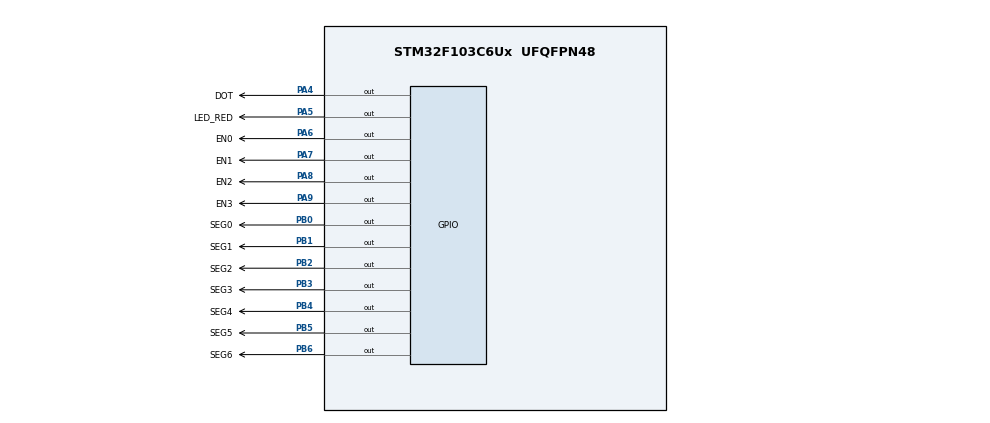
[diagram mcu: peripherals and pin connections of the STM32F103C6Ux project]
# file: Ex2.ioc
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Mcu.Family=STM32F1
Mcu.Name=STM32F103C6Ux
Mcu.Package=UFQFPN48
NVIC.PriorityGroup=NVIC_PRIORITYGROUP_4
NVIC.TIM2_IRQn=true\:0\:0\:false\:false\:true\:true\:true\:true
PA4.GPIO_Label=DOT
PA4.Signal=GPIO_Output
PA5.GPIO_Label=LED_RED
PA5.Signal=GPIO_Output
PA6.GPIO_Label=EN0
PA6.Signal=GPIO_Output
PA7.GPIO_Label=EN1
PA7.Signal=GPIO_Output
PA8.GPIO_Label=EN2
PA8.Signal=GPIO_Output
PA9.GPIO_Label=EN3
PA9.Signal=GPIO_Output
PB0.GPIO_Label=SEG0
PB0.Signal=GPIO_Output
PB1.GPIO_Label=SEG1
PB1.Signal=GPIO_Output
PB2.GPIO_Label=SEG2
PB2.Signal=GPIO_Output
PB3.GPIO_Label=SEG3
PB3.Signal=GPIO_Output
PB4.GPIO_Label=SEG4
PB4.Signal=GPIO_Output
PB5.GPIO_Label=SEG5
PB5.Signal=GPIO_Output
PB6.GPIO_Label=SEG6
PB6.Signal=GPIO_Output
ProjectManager.HeapSize=0x200
ProjectManager.StackSize=0x400
ProjectManager.TargetToolchain=STM32CubeIDE
RCC.APB1Freq_Value=8000000
RCC.APB2Freq_Value=8000000
TIM2.Period=9
TIM2.Prescaler=7999
VP_SYS_VS_ND.Mode=No_Debug
VP_TIM2_VS_ClockSourceINT.Mode=Internal
board=custom

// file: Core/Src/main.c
/* USER CODE BEGIN Header */
/**
 ******************************************************************************
 * @file           : main.c
 * @brief          : Main program body
 ******************************************************************************
 * @attention
 *
 * <h2><center>&copy; Copyright (c) 2022 STMicroelectronics.
 * All rights reserved.</center></h2>
 *
 * This software component is licensed by ST under BSD 3-Clause license,
 * the "License"; You may not use this file except in compliance with the
 * License. You may obtain a copy of the License at:
 *                        opensource.org/licenses/BSD-3-Clause
 *
 ******************************************************************************
 */
/* USER CODE END Header */
#include "display_7SEG.h"
#include "init.h"
#include "main.h"

TIM_HandleTypeDef htim2;

void SystemClock_Config(void);
static void MX_GPIO_Init(void);
static void MX_TIM2_Init(void);

int main(void)
{

	/* MCU Configuration--------------------------------------------------------*/

	/* Reset of all peripherals, Initializes the Flash interface and the Systick. */
	HAL_Init();

	/* Configure the system clock */
	SystemClock_Config();

	/* Initialize all configured peripherals */
	MX_GPIO_Init();
	MX_TIM2_Init();
	/* USER CODE BEGIN 2 */
	HAL_TIM_Base_Start_IT(&htim2);
	GPIO_init();
	/* USER CODE END 2 */

	/* Infinite loop */
	while (1)
	{

	}
}

void SystemClock_Config(void)
{
	RCC_OscInitTypeDef RCC_OscInitStruct = {0};
	RCC_ClkInitTypeDef RCC_ClkInitStruct = {0};

	/** Initializes the RCC Oscillators according to the specified parameters
	 * in the RCC_OscInitTypeDef structure.
	 */
	RCC_OscInitStruct.OscillatorType = RCC_OSCILLATORTYPE_HSI;
	RCC_OscInitStruct.HSIState = RCC_HSI_ON;
	RCC_OscInitStruct.HSICalibrationValue = RCC_HSICALIBRATION_DEFAULT;
	RCC_OscInitStruct.PLL.PLLState = RCC_PLL_NONE;
	if (HAL_RCC_OscConfig(&RCC_OscInitStruct) != HAL_OK)
	{
		Error_Handler();
	}

	/** Initializes the CPU, AHB and APB buses clocks
	 */
	RCC_ClkInitStruct.ClockType = RCC_CLOCKTYPE_HCLK|RCC_CLOCKTYPE_SYSCLK
			|RCC_CLOCKTYPE_PCLK1|RCC_CLOCKTYPE_PCLK2;
	RCC_ClkInitStruct.SYSCLKSource = RCC_SYSCLKSOURCE_HSI;
	RCC_ClkInitStruct.AHBCLKDivider = RCC_SYSCLK_DIV1;
	RCC_ClkInitStruct.APB1CLKDivider = RCC_HCLK_DIV1;
	RCC_ClkInitStruct.APB2CLKDivider = RCC_HCLK_DIV1;

	if (HAL_RCC_ClockConfig(&RCC_ClkInitStruct, FLASH_LATENCY_0) != HAL_OK)
	{
		Error_Handler();
	}
}

static void MX_TIM2_Init(void)
{

	TIM_ClockConfigTypeDef sClockSourceConfig = {0};
	TIM_MasterConfigTypeDef sMasterConfig = {0};

	htim2.Instance = TIM2;
	htim2.Init.Prescaler = 7999;
	htim2.Init.CounterMode = TIM_COUNTERMODE_UP;
	htim2.Init.Period = 9;
	htim2.Init.ClockDivision = TIM_CLOCKDIVISION_DIV1;
	htim2.Init.AutoReloadPreload = TIM_AUTORELOAD_PRELOAD_DISABLE;
	if (HAL_TIM_Base_Init(&htim2) != HAL_OK)
	{
		Error_Handler();
	}
	sClockSourceConfig.ClockSource = TIM_CLOCKSOURCE_INTERNAL;
	if (HAL_TIM_ConfigClockSource(&htim2, &sClockSourceConfig) != HAL_OK)
	{
		Error_Handler();
	}
	sMasterConfig.MasterOutputTrigger = TIM_TRGO_RESET;
	sMasterConfig.MasterSlaveMode = TIM_MASTERSLAVEMODE_DISABLE;
	if (HAL_TIMEx_MasterConfigSynchronization(&htim2, &sMasterConfig) != HAL_OK)
	{
		Error_Handler();
	}

}

static void MX_GPIO_Init(void)
{
	GPIO_InitTypeDef GPIO_InitStruct = {0};

	/* GPIO Ports Clock Enable */
	__HAL_RCC_GPIOA_CLK_ENABLE();
	__HAL_RCC_GPIOB_CLK_ENABLE();

	/*Configure GPIO pin Output Level */
	HAL_GPIO_WritePin(GPIOA, LED_RED_Pin|EN0_Pin|EN1_Pin|EN2_Pin
			|EN3_Pin, GPIO_PIN_RESET);

	/*Configure GPIO pin Output Level */
	HAL_GPIO_WritePin(GPIOB, SEG0_Pin|SEG1_Pin|SEG2_Pin|SEG3_Pin
			|SEG4_Pin|SEG5_Pin|SEG6_Pin, GPIO_PIN_RESET);

	/*Configure GPIO pins : LED_RED_Pin EN0_Pin EN1_Pin EN2_Pin
                           EN3_Pin */
	GPIO_InitStruct.Pin = LED_RED_Pin|EN0_Pin|EN1_Pin|EN2_Pin
			|EN3_Pin;
	GPIO_InitStruct.Mode = GPIO_MODE_OUTPUT_PP;
	GPIO_InitStruct.Pull = GPIO_NOPULL;
	GPIO_InitStruct.Speed = GPIO_SPEED_FREQ_LOW;
	HAL_GPIO_Init(GPIOA, &GPIO_InitStruct);

	/*Configure GPIO pins : SEG0_Pin SEG1_Pin SEG2_Pin SEG3_Pin
                           SEG4_Pin SEG5_Pin SEG6_Pin */
	GPIO_InitStruct.Pin = SEG0_Pin|SEG1_Pin|SEG2_Pin|SEG3_Pin
			|SEG4_Pin|SEG5_Pin|SEG6_Pin;
	GPIO_InitStruct.Mode = GPIO_MODE_OUTPUT_PP;
	GPIO_InitStruct.Pull = GPIO_NOPULL;
	GPIO_InitStruct.Speed = GPIO_SPEED_FREQ_LOW;
	HAL_GPIO_Init(GPIOB, &GPIO_InitStruct);

}

/* USER CODE BEGIN 4 */
int counter = 50;
int led_counter = 100;
void HAL_TIM_PeriodElapsedCallback(TIM_HandleTypeDef *htim){
	if(counter > 0)
	{
		counter--;
		if(counter <= 0)
		{
			change_enable();
			counter = 50;
		}
	}
	if(led_counter > 0)
	{
		led_counter--;
		if(led_counter <= 0)
		{
			led_counter = 100;
			blink_led();
		}
	}
}
/* USER CODE END 4 */

void Error_Handler(void)
{
	__disable_irq();
	while (1)
	{
	}
}
